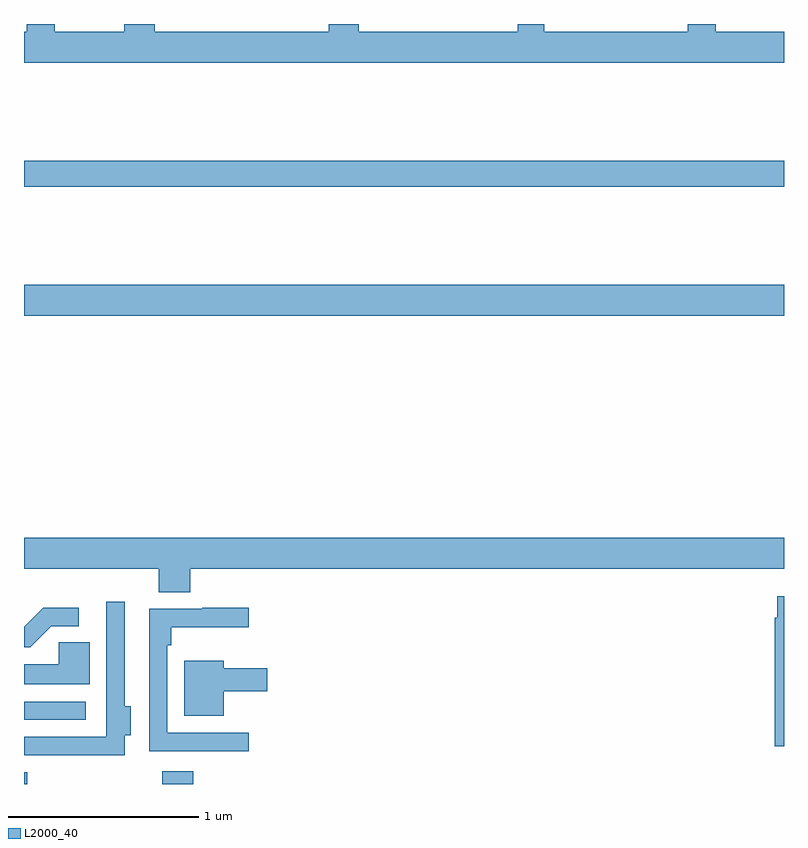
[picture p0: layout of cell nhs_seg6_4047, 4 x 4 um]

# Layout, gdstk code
import gdstk
lib = gdstk.Library(unit=1e-6, precision=1e-09)
def R(c, l, rs):  # rectangles x0, y0, x1, y1
    for r in rs: c.add(gdstk.rectangle(r[:2], r[2:], *l))
def P(c, l, *ps):  # polygons
    for p in ps: c.add(gdstk.Polygon(p, *l))
L2000_40 = (2000, 40)

nhs_seg6_4047 = lib.new_cell('nhs_seg6_4047')
R(nhs_seg6_4047, L2000_40, [(349,983.5,349.016,983.563), (349.727,983.5,349.892,983.566), (349,983.838,349.324,983.934), (349,985.964,353,986.128), (349,986.644,353,986.78)])
P(nhs_seg6_4047, L2000_40, [(353,987.46),(352.641,987.46),(352.641,987.5),(352.493,987.5),(352.493,987.46),(351.739,987.46),(351.739,987.5),(351.599,987.5),(351.599,987.46),(350.763,987.46),(350.763,987.5),(350.603,987.5),(350.603,987.46),(349.688,987.46),(349.688,987.5),(349.528,987.5),(349.528,987.46),(349.161,987.46),(349.161,987.5),(349.014,987.5),(349.014,987.46),(349,987.46),(349,987.296),(353,987.296)],
  [(349.874,984.632),(353,984.632),(353,984.796),(349,984.796),(349,984.632),(349.709,984.632),(349.709,984.508),(349.874,984.508)],
  [(353,984.487),(352.964,984.487),(352.964,984.374),(352.952,984.374),(352.952,983.7),(353,983.7)],
  [(349.53,983.756),(349.561,983.756),(349.561,983.909),(349.53,983.909),(349.53,984.46),(349.434,984.46),(349.434,983.748),(349,983.748),(349,983.652),(349.099,983.652),(349.099,983.651),(349.53,983.651)],
  [(349.143,984.33),(349.288,984.33),(349.288,984.428),(349.1,984.428),(349,984.328),(349,984.219),(349.032,984.219)],
  [(350.182,983.769),(349.755,983.769),(349.755,984.23),(349.775,984.23),(349.775,984.326),(350.182,984.326),(350.182,984.427),(349.937,984.427),(349.937,984.423),(349.659,984.423),(349.659,983.673),(350.182,983.673)],
  [(349.345,984.245),(349.182,984.245),(349.182,984.13),(349,984.13),(349,984.026),(349.345,984.026)],
  [(350.05,983.987),(350.281,983.987),(350.281,984.109),(350.05,984.109),(350.05,984.148),(349.844,984.148),(349.844,983.858),(350.05,983.858)])

lib.write_gds('nhs_seg6_4047.gds')
